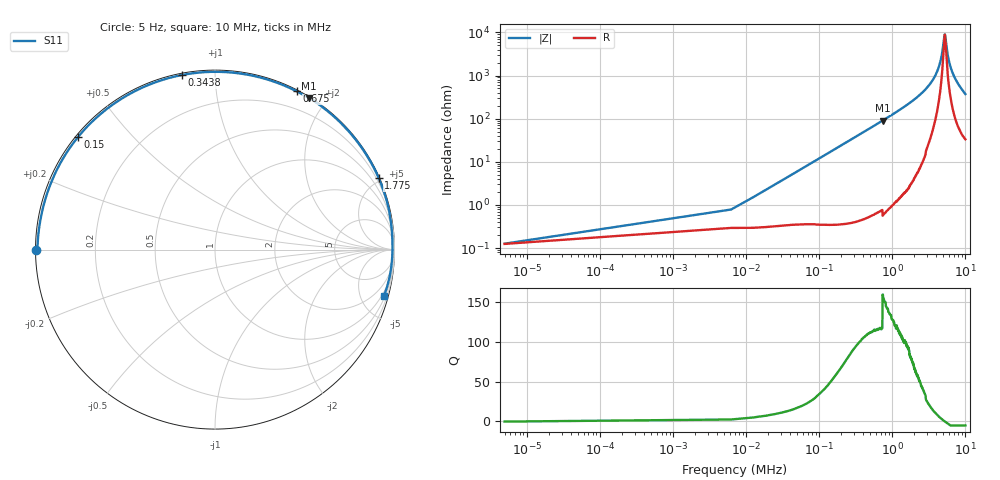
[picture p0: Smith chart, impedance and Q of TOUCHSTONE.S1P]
!Keysight Technologies,E5061B,MY49912438,B.06.30
!Date: Thu Nov 06 19:27:14 2025
!Data & Calibration Information:
!Freq	S11:SOLT1(ON)
# Hz S RI R 50
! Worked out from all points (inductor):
!   1601 points, 5 Hz to 10 MHz, reference 50 ohm
!   read as one part to ground: L = 18.9 uH near 50 kHz
!   highest Q = 143 at 737.5 kHz (marker M1), where L = 19.4 uH
!   self-resonance near 5.228 MHz
!   S11 on the Smith chart (normalised r, x): 5 Hz: 0.00, -0.00; 150 kHz: 0.01, +0.36; 343.8 kHz: 0.01, +0.83; 675 kHz: 0.01, +1.64; 1.775 MHz: 0.06, +4.77; 10 MHz: 0.67, -7.39
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5  -0.995 -0.00083
31254.98  -0.9761 0.146
75004.96  -0.9253 0.3415
112504.9  -0.8543 0.4945
150004.9  -0.7628 0.6277
193754.9  -0.6384 0.7546
243754.9  -0.4855 0.8617
293754.9  -0.332 0.9323
343754.8  -0.186 0.9724
412504.8  -0.00568 0.9906
500004.8  0.1856 0.9737
581254.7  0.3276 0.936
675004.7  0.4559 0.8815
737504.6  0.5246 0.8451
843754.6  0.6183 0.779
962504.5  0.6962 0.7103
1093754  0.7596 0.6422
1250004  0.8141 0.5719
1487504  0.8698 0.4838
1775004  0.9112 0.3995
2500004  0.961 0.2551
3056253  0.9758 0.1799
3750003  0.9849 0.1095
5000002  0.989 0.0147
6250002  0.9858 -0.0607
7500001  0.9774 -0.128
8750001  0.9631 -0.1926
1e7  0.9419 -0.2577
